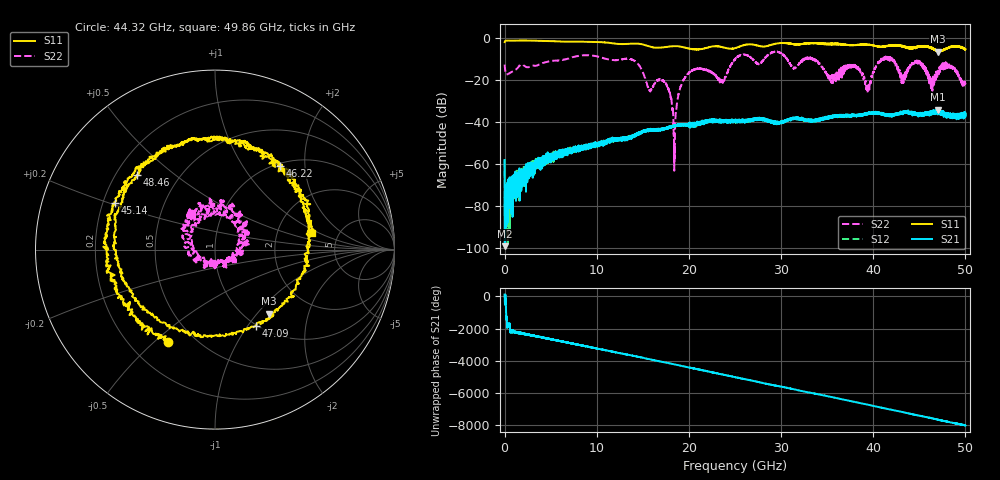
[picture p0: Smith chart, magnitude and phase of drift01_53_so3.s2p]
!Created with skrf (http://scikit-rf.org).
# Hz S RI R 50.0
!freq ReS11 ImS11 ReS21 ImS21 ReS12 ImS12 ReS22 ImS22
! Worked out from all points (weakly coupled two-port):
!   10001 points, 300 kHz to 50 GHz, reference 50 ohm
!   highest |S21| = -34.16 dB at 47.05 GHz (marker M1); lowest = -99.0 dB at 25.3 MHz (marker M2)
!   lowest |S11| = -6.6 dB at 47 GHz (marker M3), VSWR 2.75, Z = 63.4 - j57.9 ohm
!   |S11| at or under -10 dB: nowhere
!   |S22| runs from -63.2 to -6.6 dB; largest |S21 - S12| = 0.0041
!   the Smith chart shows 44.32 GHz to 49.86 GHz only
!   S11 on the Smith chart (normalised r, x): 44.32 GHz: 0.36, -0.56; 45.14 GHz: 0.25, +0.21; 46.22 GHz: 1.04, +1.49; 47.09 GHz: 0.99, -1.09; 48.46 GHz: 0.29, +0.37; 49.86 GHz: 3.17, +0.84
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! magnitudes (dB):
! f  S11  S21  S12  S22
! 300 kHz  -2.1  -58.1  -58.1  -12.8
! 25.3 MHz  -1.9  -99.0  -80.5  -14.0
! 265.3 MHz  -1.4  -75.4  -76.6  -17.5
! 8.335 GHz  -1.9  -52.0  -52.1  -8.5
! 16.67 GHz  -4.8  -43.6  -43.7  -20.0
! 17.74 GHz  -4.3  -43.0  -42.9  -23.8
! 18.43 GHz  -4.1  -41.8  -41.9  -53.0
! 19.9 GHz  -5.1  -41.6  -41.4  -17.2
! 23.6 GHz  -4.5  -39.1  -39.9  -20.4
! 25 GHz  -5.0  -39.4  -39.9  -10.4
! 33.34 GHz  -2.6  -39.5  -39.4  -9.9
! 39.36 GHz  -3.3  -35.9  -36.1  -23.0
! 41.67 GHz  -3.9  -36.4  -36.6  -10.0
! 44.32 GHz  -4.7  -35.8  -35.7  -12.4
! 45.14 GHz  -4.2  -37.0  -36.0  -12.8
! 46.22 GHz  -4.6  -35.6  -35.6  -18.5
! 47 GHz  -6.6  -35.0  -35.2  -15.3
! 47.05 GHz  -6.4  -34.2  -35.0  -15.6
! 47.09 GHz  -6.4  -35.0  -35.4  -17.1
! 48.46 GHz  -4.4  -38.0  -37.1  -14.3
! 49.86 GHz  -5.2  -36.4  -36.6  -22.6
! 50 GHz  -5.4  -37.5  -36.1  -22.1
